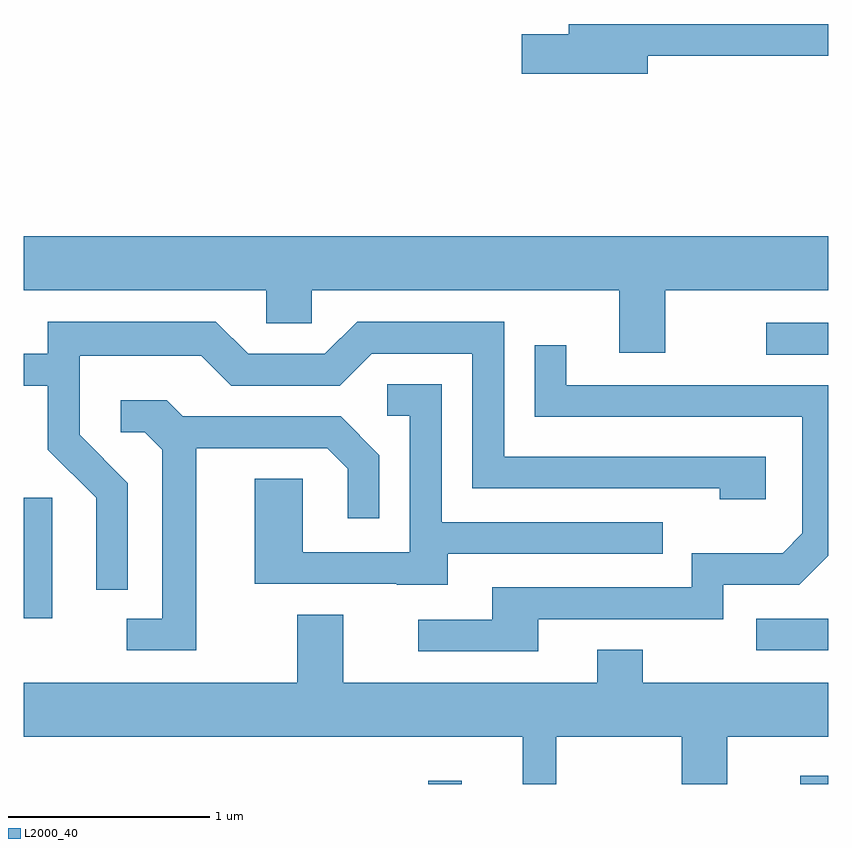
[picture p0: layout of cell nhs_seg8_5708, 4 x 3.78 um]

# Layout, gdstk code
import gdstk
lib = gdstk.Library(unit=1e-6, precision=1e-09)
def R(c, l, rs):  # rectangles x0, y0, x1, y1
    for r in rs: c.add(gdstk.rectangle(r[:2], r[2:], *l))
def P(c, l, *ps):  # polygons
    for p in ps: c.add(gdstk.Polygon(p, *l))
L2000_40 = (2000, 40)

nhs_seg8_5708 = lib.new_cell('nhs_seg8_5708')
R(nhs_seg8_5708, L2000_40, [(357.621,1898.342,357.789,1898.358), (359.471,1898.342,359.611,1898.384), (359.253,1899.006,359.611,1899.164), (355.611,1899.166,355.754,1899.764), (359.303,1900.476,359.611,1900.634)])
P(nhs_seg8_5708, L2000_40, [(358.714,1901.961),(359.611,1901.961),(359.611,1902.119),(358.321,1902.119),(358.321,1902.069),(358.086,1902.069),(358.086,1901.871),(358.714,1901.871)],
  [(358.799,1900.796),(359.611,1900.796),(359.611,1901.064),(355.611,1901.064),(355.611,1900.796),(356.816,1900.796),(356.816,1900.631),(357.044,1900.631),(357.044,1900.796),(358.571,1900.796),(358.571,1900.486),(358.799,1900.486)],
  [(356.129,1899.837),(355.889,1900.077),(355.889,1900.471),(356.494,1900.471),(356.644,1900.321),(357.182,1900.321),(357.342,1900.481),(357.841,1900.481),(357.841,1899.811),(359.071,1899.811),(359.071,1899.756),(359.299,1899.756),(359.299,1899.969),(357.999,1899.969),(357.999,1900.639),(357.269,1900.639),(357.109,1900.479),(356.727,1900.479),(356.567,1900.639),(355.731,1900.639),(355.731,1900.479),(355.611,1900.479),(355.611,1900.321),(355.731,1900.321),(355.731,1900.004),(355.971,1899.764),(355.971,1899.308),(356.129,1899.308)],
  [(358.169,1899.161),(359.089,1899.161),(359.089,1899.331),(359.467,1899.331),(359.611,1899.476),(359.611,1900.324),(358.309,1900.324),(358.309,1900.523),(358.151,1900.523),(358.151,1900.166),(359.481,1900.166),(359.481,1899.587),(359.384,1899.489),(358.931,1899.489),(358.931,1899.319),(357.941,1899.319),(357.941,1899.159),(357.573,1899.159),(357.573,1899.001),(358.169,1899.001)],
  [(357.719,1899.486),(358.788,1899.486),(358.788,1899.644),(357.689,1899.644),(357.689,1900.329),(357.418,1900.329),(357.418,1900.171),(357.531,1900.171),(357.531,1899.494),(356.999,1899.494),(356.999,1899.859),(356.761,1899.859),(356.761,1899.336),(357.465,1899.336),(357.465,1899.331),(357.719,1899.331)],
  [(356.469,1900.011),(357.119,1900.011),(357.221,1899.909),(357.221,1899.663),(357.379,1899.663),(357.379,1899.977),(357.187,1900.169),(356.402,1900.169),(356.322,1900.249),(356.093,1900.249),(356.093,1900.091),(356.214,1900.091),(356.301,1900.004),(356.301,1899.164),(356.123,1899.164),(356.123,1899.006),(356.469,1899.006)],
  [(358.259,1898.576),(358.881,1898.576),(358.881,1898.342),(359.109,1898.342),(359.109,1898.576),(359.611,1898.576),(359.611,1898.844),(358.689,1898.844),(358.689,1899.009),(358.461,1899.009),(358.461,1898.844),(357.199,1898.844),(357.199,1899.184),(356.971,1899.184),(356.971,1898.844),(355.611,1898.844),(355.611,1898.576),(358.091,1898.576),(358.091,1898.342),(358.259,1898.342)])

lib.write_gds('nhs_seg8_5708.gds')
